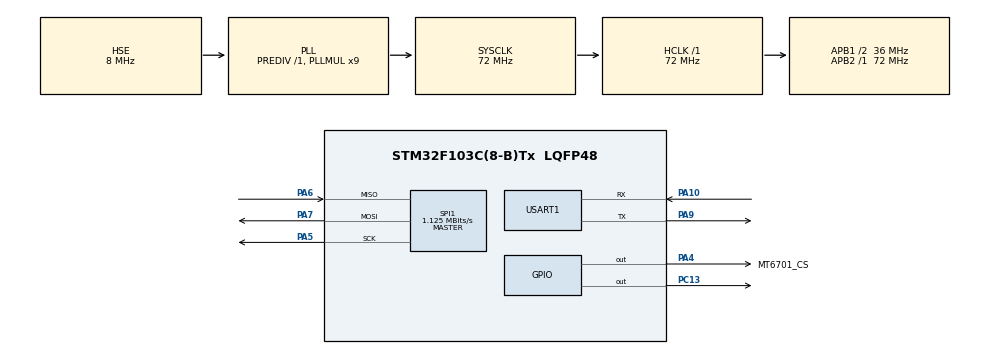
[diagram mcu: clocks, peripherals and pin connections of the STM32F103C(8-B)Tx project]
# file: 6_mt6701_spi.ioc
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Mcu.Family=STM32F1
Mcu.Name=STM32F103C(8-B)Tx
Mcu.Package=LQFP48
NVIC.PriorityGroup=NVIC_PRIORITYGROUP_4
PA10.Mode=Asynchronous
PA10.Signal=USART1_RX
PA13.Mode=Serial_Wire
PA13.Signal=SYS_JTMS-SWDIO
PA14.Mode=Serial_Wire
PA14.Signal=SYS_JTCK-SWCLK
PA4.GPIO_Label=MT6701_CS
PA4.PinState=GPIO_PIN_SET
PA4.Signal=GPIO_Output
PA5.Mode=Full_Duplex_Master
PA5.Signal=SPI1_SCK
PA6.Mode=Full_Duplex_Master
PA6.Signal=SPI1_MISO
PA7.Mode=Full_Duplex_Master
PA7.Signal=SPI1_MOSI
PA9.Mode=Asynchronous
PA9.Signal=USART1_TX
PC13-TAMPER-RTC.PinState=GPIO_PIN_SET
PC13-TAMPER-RTC.Signal=GPIO_Output
PD0-OSC_IN.Mode=HSE-External-Oscillator
PD0-OSC_IN.Signal=RCC_OSC_IN
PD1-OSC_OUT.Mode=HSE-External-Oscillator
PD1-OSC_OUT.Signal=RCC_OSC_OUT
ProjectManager.HeapSize=0x200
ProjectManager.StackSize=0x800
ProjectManager.TargetToolchain=CMake
RCC.AHBFreq_Value=72000000
RCC.APB1CLKDivider=RCC_HCLK_DIV2
RCC.APB1Freq_Value=36000000
RCC.APB1TimFreq_Value=72000000
RCC.APB2Freq_Value=72000000
RCC.APB2TimFreq_Value=72000000
RCC.EnbaleCSS=true
RCC.HCLKFreq_Value=72000000
RCC.PLLMUL=RCC_PLL_MUL9
RCC.PLLSourceVirtual=RCC_PLLSOURCE_HSE
RCC.SYSCLKFreq_VALUE=72000000
RCC.SYSCLKSource=RCC_SYSCLKSOURCE_PLLCLK
RCC.USBFreq_Value=72000000
SPI1.BaudRatePrescaler=SPI_BAUDRATEPRESCALER_64
SPI1.CLKPhase=SPI_PHASE_2EDGE
SPI1.CalculateBaudRate=1.125 MBits/s
SPI1.Direction=SPI_DIRECTION_2LINES
SPI1.Mode=SPI_MODE_MASTER
SPI1.VirtualType=VM_MASTER
USART1.VirtualMode=VM_ASYNC
board=custom

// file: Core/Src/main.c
/* USER CODE BEGIN Header */
/**
  ******************************************************************************
  * @file           : main.c
  * @brief          : Main program body
  ******************************************************************************
  * @attention
  *
  * Copyright (c) 2026 STMicroelectronics.
  * All rights reserved.
  *
  * This software is licensed under terms that can be found in the LICENSE file
  * in the root directory of this software component.
  * If no LICENSE file comes with this software, it is provided AS-IS.
  *
  ******************************************************************************
  */
/* USER CODE END Header */
#include "main.h"
#include "spi.h"
#include "usart.h"
#include "gpio.h"

/* USER CODE BEGIN Includes */
#include <stdio.h>
/* USER CODE END Includes */

/* USER CODE BEGIN PD */

#define MT6701_CS_LOW()  HAL_GPIO_WritePin(MT6701_CS_GPIO_Port, MT6701_CS_Pin, GPIO_PIN_RESET)
#define MT6701_CS_HIGH() HAL_GPIO_WritePin(MT6701_CS_GPIO_Port, MT6701_CS_Pin, GPIO_PIN_SET)

/* USER CODE END PD */

void SystemClock_Config(void);

/* USER CODE BEGIN 0 */

/**
  * @brief  Read raw 14-bit angle data from MT6701 via SSI (SPI).
  * @retval 14-bit angle value (0~16383)
  */
static uint16_t MT6701_ReadRaw(void)
{
    uint8_t rx[2];

    MT6701_CS_LOW();

    HAL_SPI_Receive(&hspi1, rx, 2, 100);

    MT6701_CS_HIGH();

    uint16_t data = ((uint16_t)rx[0] << 8) | rx[1];
    data >>= 2;

    return data & 0x3FFF;
}

/**
  * @brief  Convert raw angle to degrees.
  * @retval Angle in degrees (0.0 ~ 360.0)
  */
static float MT6701_GetAngle(void)
{
    uint16_t raw = MT6701_ReadRaw();
    return raw * 360.0f / 16384.0f;
}

/**
  * @brief  Redirect printf output to USART1.
  */
int __io_putchar(int ch)
{
    HAL_UART_Transmit(&huart1, (uint8_t *)&ch, 1, 100);
    return ch;
}

/* USER CODE END 0 */

int main(void)
{

  /* MCU Configuration--------------------------------------------------------*/

  /* Reset of all peripherals, Initializes the Flash interface and the Systick. */
  HAL_Init();

  /* Configure the system clock */
  SystemClock_Config();

  /* Initialize all configured peripherals */
  MX_GPIO_Init();
  MX_SPI1_Init();
  MX_USART1_UART_Init();

  /* Infinite loop */
  /* USER CODE BEGIN WHILE */

  /*
   * 调试阶段预期输出（手动匀速旋转磁铁一周）:
   *
   * 正常情况（SPI Mode 1, >>2 正确）:
   *   raw=0     angle=0.00
   *   raw=2048  angle=44.98   (约 45°)
   *   raw=4096  angle=90.00
   *   raw=8192  angle=180.00
   *   raw=12288 angle=270.00
   *   raw=16383 angle=359.98
   *   raw=0     angle=0.00    ← 回到起点
   *   360° 内恰好 1 次完整周期, 数值平滑递增/递减
   *
   * 异常现象排查:
   *   "180~360" 或 "90~270"   → SPI 模式错误 (CPOL/CPHA 不对)
   *   "0~16383 循环 2 次/圈"  → 角度提取 shift/mask 错误 (当前 >>2 不应移除)
   *   "8800~16383"            → MOSI 送了 0x00, 该模块需要 0xFF
   *   "一直 65535"            → MISO 接线错误
   *   "一直是 0"              → CS 没有拉低
   */

  while (1)
  {
      uint16_t raw = MT6701_ReadRaw();
      float angle = MT6701_GetAngle();
      printf("raw=%u angle=%.2f\r\n", raw, angle);
      HAL_Delay(100);
    /* USER CODE END WHILE */

  }
}

void SystemClock_Config(void)
{
  RCC_OscInitTypeDef RCC_OscInitStruct = {0};
  RCC_ClkInitTypeDef RCC_ClkInitStruct = {0};

  /** Initializes the RCC Oscillators according to the specified parameters
  * in the RCC_OscInitTypeDef structure.
  */
  RCC_OscInitStruct.OscillatorType = RCC_OSCILLATORTYPE_HSE;
  RCC_OscInitStruct.HSEState = RCC_HSE_ON;
  RCC_OscInitStruct.HSEPredivValue = RCC_HSE_PREDIV_DIV1;
  RCC_OscInitStruct.HSIState = RCC_HSI_ON;
  RCC_OscInitStruct.PLL.PLLState = RCC_PLL_ON;
  RCC_OscInitStruct.PLL.PLLSource = RCC_PLLSOURCE_HSE;
  RCC_OscInitStruct.PLL.PLLMUL = RCC_PLL_MUL9;
  if (HAL_RCC_OscConfig(&RCC_OscInitStruct) != HAL_OK)
  {
    Error_Handler();
  }

  /** Initializes the CPU, AHB and APB buses clocks
  */
  RCC_ClkInitStruct.ClockType = RCC_CLOCKTYPE_HCLK|RCC_CLOCKTYPE_SYSCLK
                              |RCC_CLOCKTYPE_PCLK1|RCC_CLOCKTYPE_PCLK2;
  RCC_ClkInitStruct.SYSCLKSource = RCC_SYSCLKSOURCE_PLLCLK;
  RCC_ClkInitStruct.AHBCLKDivider = RCC_SYSCLK_DIV1;
  RCC_ClkInitStruct.APB1CLKDivider = RCC_HCLK_DIV2;
  RCC_ClkInitStruct.APB2CLKDivider = RCC_HCLK_DIV1;

  if (HAL_RCC_ClockConfig(&RCC_ClkInitStruct, FLASH_LATENCY_2) != HAL_OK)
  {
    Error_Handler();
  }

  /** Enables the Clock Security System
  */
  HAL_RCC_EnableCSS();
}

void Error_Handler(void)
{
  __disable_irq();
  while (1)
  {
  }
}
